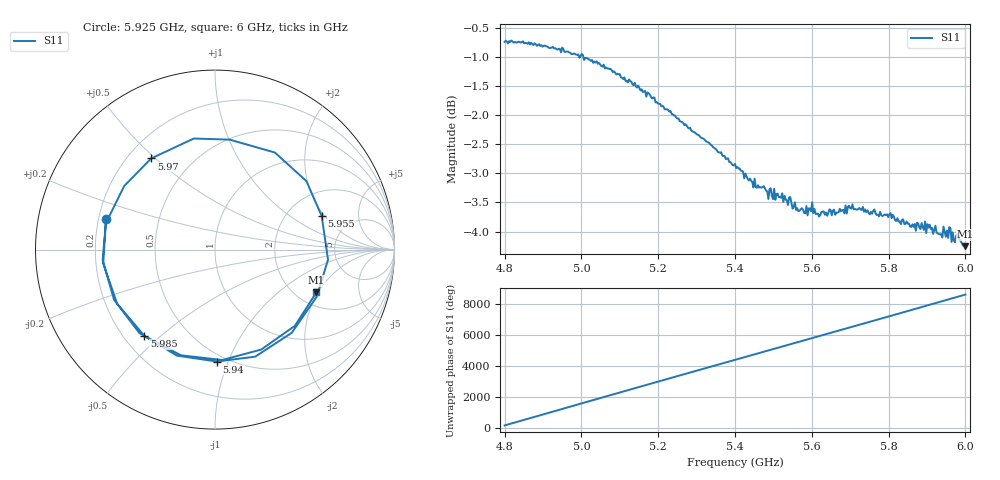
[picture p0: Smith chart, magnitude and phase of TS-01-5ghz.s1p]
! NanoVNA-App
! Date: 2026-05-22 18:51:30
! Start: 4.8GHz Stop: 6GHz Points: 401
! S-Parameter data: F S11
# Hz S RI R 50
!  Frequency  S11_Real  S11_Imag
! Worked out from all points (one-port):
!   401 points, 4.8 GHz to 6 GHz, reference 50 ohm
!   lowest |S11| = -4.3 dB at 6 GHz (marker M1), VSWR 4.17, Z = 127 - j96.8 ohm
!   |S11| at or under -10 dB: nowhere
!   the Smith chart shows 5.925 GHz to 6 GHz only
!   S11 on the Smith chart (normalised r, x): 5.925 GHz: 0.23, +0.13; 5.94 GHz: 0.45, -0.91; 5.955 GHz: 3.07, +1.87; 5.97 GHz: 0.29, +0.48; 5.985 GHz: 0.28, -0.44; 6 GHz: 2.53, -1.94
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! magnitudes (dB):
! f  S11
! 4.8 GHz  -0.7
! 4.842 GHz  -0.8
! 4.95 GHz  -0.8
! 5.04 GHz  -1.1
! 5.1 GHz  -1.3
! 5.178 GHz  -1.6
! 5.25 GHz  -2.1
! 5.4 GHz  -2.8
! 5.46 GHz  -3.2
! 5.55 GHz  -3.6
! 5.565 GHz  -3.6
! 5.583 GHz  -3.7
! 5.601 GHz  -3.5
! 5.616 GHz  -3.7
! 5.667 GHz  -3.7
! 5.7 GHz  -3.6
! 5.808 GHz  -3.8
! 5.826 GHz  -3.8
! 5.85 GHz  -3.9
! 5.865 GHz  -3.9
! 5.907 GHz  -3.9
! 5.925 GHz  -4.0
! 5.934 GHz  -4.0
! 5.94 GHz  -4.1
! 5.955 GHz  -4.1
! 5.97 GHz  -4.2
! 5.985 GHz  -4.1
! 6 GHz  -4.3
